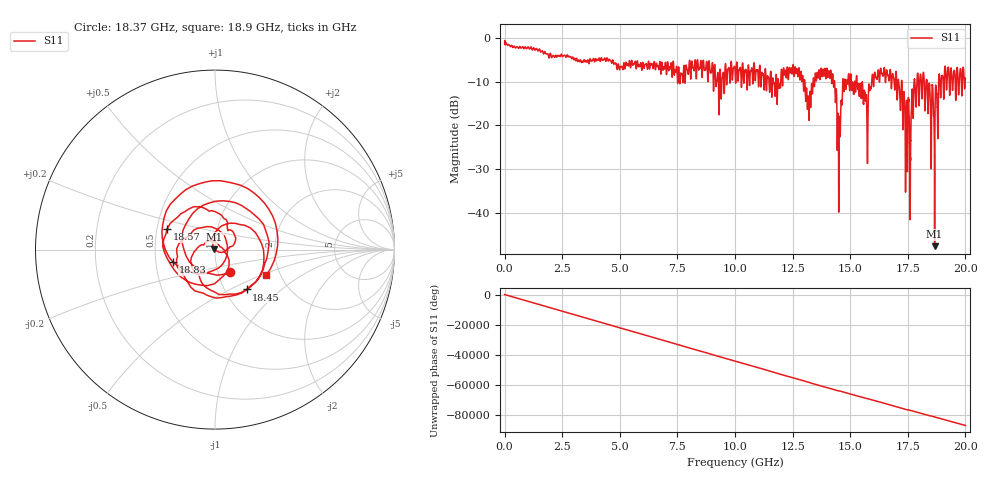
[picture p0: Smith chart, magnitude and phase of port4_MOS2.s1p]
! MS46122B
! 2250307/22442219
! 6/15/2025 8:16:04 AM
! C:\USERS\SPARKY\DOCUMENTS\VNA_DATA\JUNE15_2025\3.2K\PORT4_MOS2.S1P
! CHANNEL.1
! TR.MEASUREMENT
! RAW.DATA
# GHZ S RI R 50.0
! FREQ.GHZ  S11RE  S11IM
!; PortSelection: Port_1
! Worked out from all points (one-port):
!   10001 points, 1 MHz to 20 GHz, reference 50 ohm
!   lowest |S11| = -47.6 dB at 18.66 GHz (marker M1), VSWR 1.01, Z = 49.7 + j0.252 ohm
!   |S11| at or under -10 dB: 15.3 GHz to 15.94 GHz (635 MHz wide, 4.07 % of centre); 17.24 GHz to 17.77 GHz (529.9 MHz wide, 3.03 % of centre); 18.34 GHz to 18.84 GHz (502.7 MHz wide, 2.7 % of centre) (the widest 3 of 63)
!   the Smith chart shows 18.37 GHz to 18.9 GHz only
!   S11 on the Smith chart (normalised r, x): 18.37 GHz: 1.14, -0.29; 18.45 GHz: 1.26, -0.61; 18.57 GHz: 0.57, +0.14; 18.83 GHz: 0.61, -0.09; 18.9 GHz: 1.69, -0.54
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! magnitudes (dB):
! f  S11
! 1 MHz  -0.9
! 2.501 GHz  -4.2
! 5.001 GHz  -7.1
! 7.501 GHz  -9.6
! 8.697 GHz  -7.3
! 9.373 GHz  -8.7
! 10 GHz  -7.2
! 11.82 GHz  -13.4
! 12.5 GHz  -6.9
! 13.21 GHz  -18.6
! 13.57 GHz  -7.9
! 14.16 GHz  -7.4
! 14.52 GHz  -21.6
! 14.7 GHz  -9.6
! 15 GHz  -9.9
! 15.68 GHz  -13.9
! 16.14 GHz  -9.1
! 16.92 GHz  -10.7
! 17.5 GHz  -19.4
! 17.66 GHz  -16.6
! 17.86 GHz  -15.6
! 18.37 GHz  -16.4
! 18.45 GHz  -11.0
! 18.57 GHz  -10.7
! 18.66 GHz  -47.6
! 18.83 GHz  -12.2
! 18.9 GHz  -9.9
! 20 GHz  -9.2
